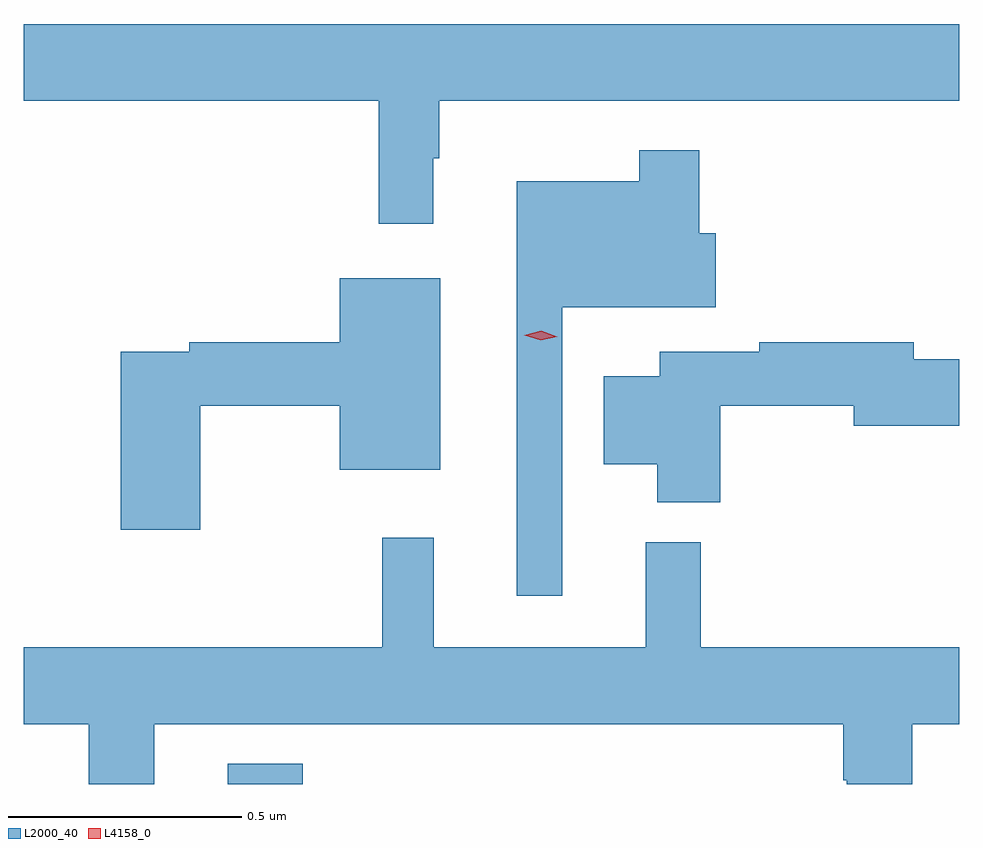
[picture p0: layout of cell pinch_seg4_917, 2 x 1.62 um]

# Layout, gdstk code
import gdstk
lib = gdstk.Library(unit=1e-6, precision=1e-09)
def R(c, l, rs):  # rectangles x0, y0, x1, y1
    for r in rs: c.add(gdstk.rectangle(r[:2], r[2:], *l))
def P(c, l, *ps):  # polygons
    for p in ps: c.add(gdstk.Polygon(p, *l))
L2000_40 = (2000, 40)
L4158_0 = (4158, 0)

pinch_seg4_917 = lib.new_cell('pinch_seg4_917')
R(pinch_seg4_917, L2000_40, [(753.638,827.328,753.799,827.371)])
P(pinch_seg4_917, L2000_40, [(754.078,828.665),(754.09,828.665),(754.09,828.788),(755.202,828.788),(755.202,828.952),(753.202,828.952),(753.202,828.788),(753.961,828.788),(753.961,828.525),(754.078,828.525)],
  [(754.353,828.347),(754.681,828.347),(754.681,828.505),(754.646,828.505),(754.646,828.682),(754.518,828.682),(754.518,828.616),(754.256,828.616),(754.256,827.73),(754.353,827.73)],
  [(753.58,828.136),(753.878,828.136),(753.878,827.999),(754.093,827.999),(754.093,828.409),(753.878,828.409),(753.878,828.272),(753.556,828.272),(753.556,828.252),(753.41,828.252),(753.41,827.871),(753.58,827.871)],
  [(754.691,828.136),(754.976,828.136),(754.976,828.094),(755.202,828.094),(755.202,828.236),(755.104,828.236),(755.104,828.272),(754.774,828.272),(754.774,828.252),(754.562,828.252),(754.562,828.199),(754.442,828.199),(754.442,828.011),(754.556,828.011),(754.556,827.93),(754.691,827.93)],
  [(753.481,827.456),(754.954,827.456),(754.954,827.336),(754.961,827.336),(754.961,827.328),(755.101,827.328),(755.101,827.456),(755.202,827.456),(755.202,827.62),(754.649,827.62),(754.649,827.845),(754.532,827.845),(754.532,827.62),(754.079,827.62),(754.079,827.854),(753.969,827.854),(753.969,827.62),(753.202,827.62),(753.202,827.456),(753.341,827.456),(753.341,827.328),(753.481,827.328)])
P(pinch_seg4_917, L4158_0, [(754.307,828.276),(754.272,828.287),(754.272,828.287),(754.272,828.287),(754.308,828.296),(754.343,828.284),(754.343,828.284),(754.343,828.284)])

lib.write_gds('pinch_seg4_917.gds')
